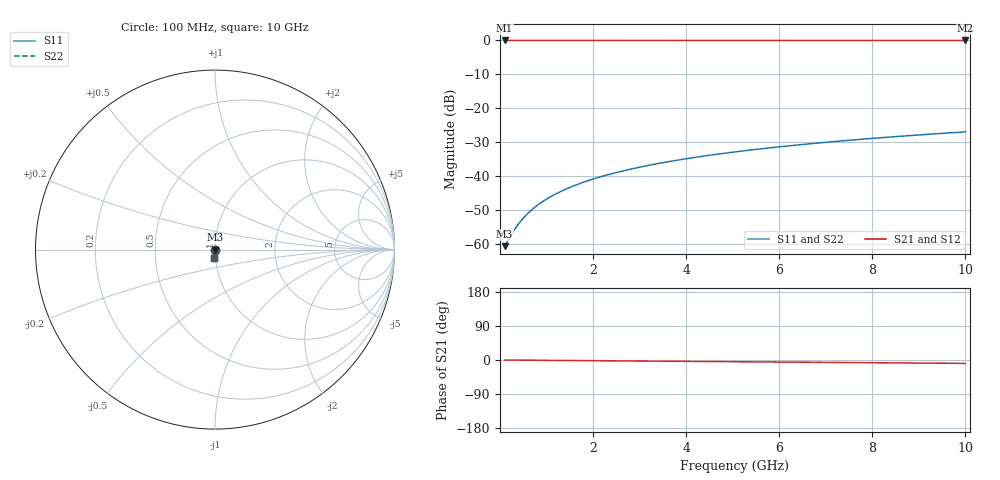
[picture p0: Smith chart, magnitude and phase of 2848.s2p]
# Hz S RI R 50.00
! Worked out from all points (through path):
!   100 points, 100 MHz to 10 GHz, reference 50 ohm
!   highest |S21| = -0.01 dB at 100 MHz (marker M1); lowest = 0.0 dB at 10 GHz (marker M2)
!   group delay of S21, straight-line fit = 2.49 ps
!   lowest |S11| = -60.7 dB at 100 MHz (marker M3), VSWR 1.00, Z = 50.1 - j0.045 ohm
!   |S11| at or under -10 dB: start of sweep to end of sweep
!   |S22| runs from -60.7 to -27.0 dB; largest |S21 - S12| = 0
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1e8  0.000804 -0.00045  0.9992 -0.00156  0.9992 -0.00156  0.000804 -0.00045
3e8  0.000806 -0.00135  0.9992 -0.00468  0.9992 -0.00468  0.000806 -0.00135
4e8  0.000804 -0.0018  0.9992 -0.00624  0.9992 -0.00624  0.000804 -0.0018
5e8  0.000799 -0.00225  0.9991 -0.0078  0.9991 -0.0078  0.000799 -0.00225
6e8  0.000793 -0.0027  0.9991 -0.00936  0.9991 -0.00936  0.000793 -0.0027
7e8  0.000785 -0.00315  0.9991 -0.0109  0.9991 -0.0109  0.000785 -0.00315
8e8  0.000776 -0.0036  0.9991 -0.0125  0.9991 -0.0125  0.000776 -0.0036
9e8  0.000765 -0.00405  0.9991 -0.014  0.9991 -0.014  0.000765 -0.00405
1e9  0.000752 -0.0045  0.999 -0.0156  0.999 -0.0156  0.000752 -0.0045
1.2e9  0.000723 -0.00539  0.999 -0.0187  0.999 -0.0187  0.000723 -0.00539
1.5e9  0.000668 -0.00674  0.9988 -0.0234  0.9988 -0.0234  0.000668 -0.00674
1.8e9  0.0006 -0.00809  0.9987 -0.0281  0.9987 -0.0281  0.0006 -0.00809
2.1e9  0.000519 -0.00944  0.9985 -0.0328  0.9985 -0.0328  0.000519 -0.00944
2.5e9  0.000391 -0.0112  0.9983 -0.039  0.9983 -0.039  0.000391 -0.0112
2.9e9  0.00024 -0.013  0.998 -0.0452  0.998 -0.0452  0.00024 -0.013
3.4e9  2.04e-05 -0.0153  0.9976 -0.053  0.9976 -0.053  2.04e-05 -0.0153
4.2e9  -0.000405 -0.0188  0.9968 -0.0655  0.9968 -0.0655  -0.000405 -0.0188
5.1e9  -0.00099 -0.0229  0.9956 -0.0795  0.9956 -0.0795  -0.00099 -0.0229
5.9e9  -0.00161 -0.0264  0.9945 -0.0919  0.9945 -0.0919  -0.00161 -0.0264
6.7e9  -0.00231 -0.0299  0.9931 -0.1043  0.9931 -0.1043  -0.00231 -0.0299
8.4e9  -0.0041 -0.0374  0.9897 -0.1307  0.9897 -0.1307  -0.0041 -0.0374
1e10  -0.00614 -0.0443  0.9858 -0.1553  0.9858 -0.1553  -0.00614 -0.0443
